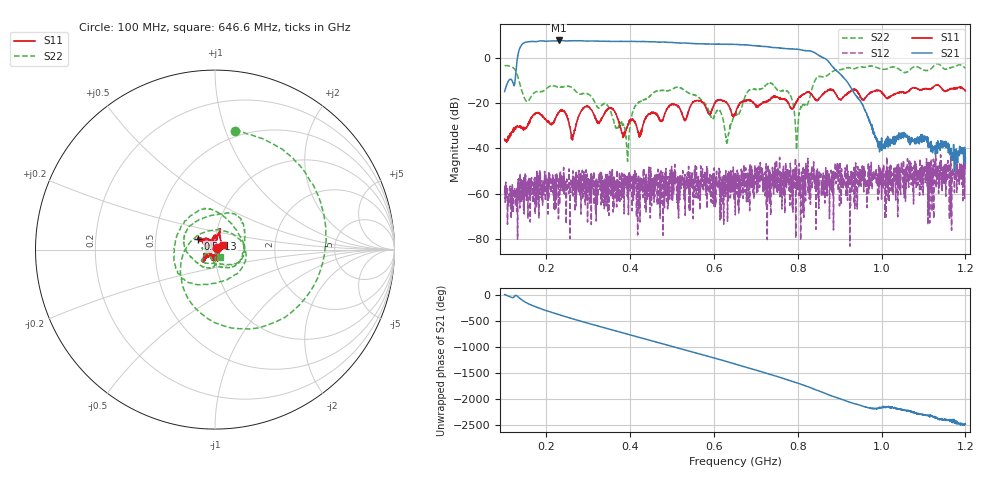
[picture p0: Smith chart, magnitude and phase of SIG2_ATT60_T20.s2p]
# Hz S DB R 50
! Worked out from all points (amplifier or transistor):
!   1601 points, 100 MHz to 1.2 GHz, reference 50 ohm
!   highest |S21| = 7.6 dB at 229.2 MHz (marker M1)
!   |S21| within 3 dB of that: 137.2 MHz to 735.1 MHz (597.9 MHz wide, 137 % of centre)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
!   unconditionally stable (mu >= 1): start of sweep to end of sweep
!   at 282.9 MHz: K = 100.86, MAG = 7.6 dB, |S12| = -53.9 dB
!   at 650 MHz: K = 102.70, MAG = 5.9 dB, |S12| = -52.2 dB
!   at 1.2 GHz: K = 10182.84, MAG = -44.4 dB, |S12| = -43.8 dB
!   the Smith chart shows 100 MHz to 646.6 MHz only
!   S11 on the Smith chart (normalised r, x): 100 MHz: 1.02, +0.02; 561.3 MHz: 0.82, +0.10; 646.6 MHz: 1.09, +0.06
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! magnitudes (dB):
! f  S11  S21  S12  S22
! 100 MHz  -35.9  -14.9  -59.7  -3.5
! 122 MHz  -32.4  -12.2  -58.2  -4.6
! 144 MHz  -31.5  6.3  -53.6  -16.2
! 229.2 MHz  -24.3  7.6  -53.6  -12.9
! 262.9 MHz  -34.0  7.5  -49.9  -13.4
! 283.6 MHz  -23.3  7.5  -57.0  -16.0
! 344.8 MHz  -23.2  7.2  -56.0  -20.7
! 392.9 MHz  -30.6  7.2  -61.1  -42.9
! 412.8 MHz  -29.0  7.2  -51.3  -21.2
! 467.1 MHz  -25.9  6.9  -54.6  -14.5
! 561.3 MHz  -18.9  6.2  -58.9  -17.3
! 614.2 MHz  -18.7  6.0  -71.5  -23.3
! 630.1 MHz  -19.8  5.9  -54.0  -36.6
! 646.6 MHz  -25.9  5.9  -55.0  -26.3
! 650 MHz  -25.0  5.9  -52.2  -25.5
! 734.6 MHz  -18.1  4.7  -51.1  -11.1
! 779.9 MHz  -21.1  3.9  -49.1  -15.7
! 797.8 MHz  -19.2  3.8  -58.2  -38.1
! 833.6 MHz  -16.2  2.8  -47.9  -13.8
! 1.017 GHz  -17.3  -37.8  -53.1  -4.5
! 1.167 GHz  -13.7  -42.4  -76.0  -4.2
! 1.2 GHz  -14.5  -46.4  -43.8  -4.5
